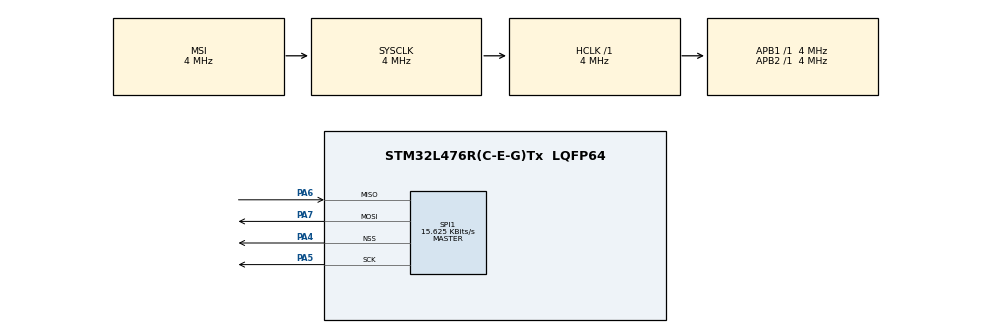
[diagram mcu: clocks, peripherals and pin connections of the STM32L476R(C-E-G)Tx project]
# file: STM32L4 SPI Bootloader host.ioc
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Mcu.Family=STM32L4
Mcu.Name=STM32L476R(C-E-G)Tx
Mcu.Package=LQFP64
NVIC.PriorityGroup=NVIC_PRIORITYGROUP_4
PA4.Mode=NSS_Signal_Hard_Output
PA4.Signal=SPI1_NSS
PA5.Mode=Full_Duplex_Master
PA5.Signal=SPI1_SCK
PA6.Mode=Full_Duplex_Master
PA6.Signal=SPI1_MISO
PA7.Mode=Full_Duplex_Master
PA7.Signal=SPI1_MOSI
ProjectManager.HeapSize=0x200
ProjectManager.StackSize=0x400
ProjectManager.TargetToolchain=EWARM
RCC.ADCFreq_Value=16000000
RCC.AHBFreq_Value=4000000
RCC.APB1Freq_Value=4000000
RCC.APB1TimFreq_Value=4000000
RCC.APB2Freq_Value=4000000
RCC.APB2TimFreq_Value=4000000
RCC.CortexFreq_Value=4000000
RCC.HCLKFreq_Value=4000000
RCC.HSE_VALUE=8000000
RCC.HSI_VALUE=16000000
RCC.LSE_VALUE=32768
RCC.MSI_VALUE=4000000
RCC.SYSCLKFreq_VALUE=4000000
RCC.USBFreq_Value=16000000
RCC.VCOOutputFreq_Value=32000000
SPI1.BaudRatePrescaler=SPI_BAUDRATEPRESCALER_256
SPI1.CalculateBaudRate=15.625 KBits/s
SPI1.DataSize=SPI_DATASIZE_8BIT
SPI1.Direction=SPI_DIRECTION_2LINES
SPI1.Mode=SPI_MODE_MASTER
SPI1.NSSPMode=SPI_NSS_PULSE_DISABLE
SPI1.VirtualNSS=VM_NSSHARD
SPI1.VirtualType=VM_MASTER
board=STM32L4 SPI Bootloader host

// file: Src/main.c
/**
  ******************************************************************************
  * File Name          : main.c
  * Description        : Main program body
  ******************************************************************************
  *
  * COPYRIGHT(c) 2017 STMicroelectronics
  *
  * Redistribution and use in source and binary forms, with or without modification,
  * are permitted provided that the following conditions are met:
  *   1. Redistributions of source code must retain the above copyright notice,
  *      this list of conditions and the following disclaimer.
  *   2. Redistributions in binary form must reproduce the above copyright notice,
  *      this list of conditions and the following disclaimer in the documentation
  *      and/or other materials provided with the distribution.
  *   3. Neither the name of STMicroelectronics nor the names of its contributors
  *      may be used to endorse or promote products derived from this software
  *      without specific prior written permission.
  *
  * THIS SOFTWARE IS PROVIDED BY THE COPYRIGHT HOLDERS AND CONTRIBUTORS "AS IS"
  * AND ANY EXPRESS OR IMPLIED WARRANTIES, INCLUDING, BUT NOT LIMITED TO, THE
  * IMPLIED WARRANTIES OF MERCHANTABILITY AND FITNESS FOR A PARTICULAR PURPOSE ARE
  * DISCLAIMED. IN NO EVENT SHALL THE COPYRIGHT HOLDER OR CONTRIBUTORS BE LIABLE
  * FOR ANY DIRECT, INDIRECT, INCIDENTAL, SPECIAL, EXEMPLARY, OR CONSEQUENTIAL
  * DAMAGES (INCLUDING, BUT NOT LIMITED TO, PROCUREMENT OF SUBSTITUTE GOODS OR
  * SERVICES; LOSS OF USE, DATA, OR PROFITS; OR BUSINESS INTERRUPTION) HOWEVER
  * CAUSED AND ON ANY THEORY OF LIABILITY, WHETHER IN CONTRACT, STRICT LIABILITY,
  * OR TORT (INCLUDING NEGLIGENCE OR OTHERWISE) ARISING IN ANY WAY OUT OF THE USE
  * OF THIS SOFTWARE, EVEN IF ADVISED OF THE POSSIBILITY OF SUCH DAMAGE.
  *
  ******************************************************************************
  */
#include "main.h"
#include "stm32l4xx_hal.h"

/* USER CODE BEGIN Includes */
#include "bootloader.h"
/* USER CODE END Includes */

SPI_HandleTypeDef hspi1;

/* USER CODE BEGIN PV */
/* Private variables ---------------------------------------------------------*/
uint8_t aRxBuffer[256] = NULL;
uint8_t aTxBuffer[256] = NULL;
/* USER CODE END PV */

void SystemClock_Config(void);
void Error_Handler(void);
static void MX_GPIO_Init(void);
static void MX_SPI1_Init(void);

/* USER CODE BEGIN PFP */
/* Private function prototypes -----------------------------------------------*/

/* USER CODE END PFP */

int main(void)
{

  /* USER CODE BEGIN 1 */
  uint8_t version;
  // uint8_t sector_codes[2] = {1, 3};
  uint16_t chipID;
  uint32_t dummy = 0xDEADBEEF;
  /* USER CODE END 1 */

  /* MCU Configuration----------------------------------------------------------*/

  /* Reset of all peripherals, Initializes the Flash interface and the Systick. */
  HAL_Init();

  /* Configure the system clock */
  SystemClock_Config();

  /* Initialize all configured peripherals */
  MX_GPIO_Init();
  MX_SPI1_Init();

  /* USER CODE BEGIN 2 */

  /* Synchronize with target bootloader ######################################*/
  BL_Init(&hspi1);

  /* Bootloader usage examples ###############################################*/
  BL_Get_Command(aRxBuffer);
  version = BL_GetVersion_Command();
  chipID = BL_GetID_Command();

  /* Check GetVersion is equal to GetCommand version */
  if (version != aRxBuffer[0])
  {
    Error_Handler();
  }

  /* Write dummy word to RAM */
  BL_WriteMemory_Command(0x20003000, 4, (uint8_t *) &dummy);

  /* Write chip ID to RAM */
  BL_WriteMemory_Command(0x20003004, 2, (uint8_t *) &chipID);

  /* Read dummy word and chip ID from RAM */
  BL_ReadMemory_Command(0x20003000, 6, aRxBuffer);

  /* Erase, write & verify test loop #########################################*/
  /* @note The Flash has to be erased before it can be written to */
  for (uint32_t i = 0; i < 5; i++)
  {

    /* Create dummy buffer using SysTick values */
    for (uint32_t j = 0; j <= 0xFF; j++)
    {
      aTxBuffer[j] = SysTick->VAL;
      /* Substitute NACK with 0xFF for easier debugging */
      if (aTxBuffer[j] == BL_NAK)
      {
        aTxBuffer[j] = 0xFF;
      }
    }

    /* (0x44) Erase Sector 0 (16 KBytes) */
    BL_EraseMemory_Command(0x0001, 0x00);

    /* (0x31) Write 255 Bytes dummy buffer */
    BL_WriteMemory_Command(0x08000000, 255, aTxBuffer);

    /* (0x11) Read memory */
    BL_ReadMemory_Command(0x08000000, 255, aRxBuffer);

    /* Verify received data */
    for (uint32_t k = 0; k < 0xFF; k++)
    {
      if (aTxBuffer[k] != aRxBuffer[k])
      {
        Error_Handler();
      }
    }
  }

  /* Jump to user application init vector ####################################*/
  BL_Go_Command(0x08000000);

  /* Security configuration examples #########################################*/
  /* @note The bootloader seems to become unresponsive after changing a option byte */
//
//  /* Write Protect Flash sectors */
//  BL_WriteProtect_Command(2, sector_codes);
//
//  /* Write Unprotect all Flash memory sectors*/
//  BL_WriteUnprotect_Command();
//
//  /* Reset Readout Protection to Level 0 (Flash mass erase) */
//  BL_ReadoutUnprotect_Command();
//
//  /* Set Readout Protection to Level 1 */
//  BL_ReadoutProtect_Command();

  /* USER CODE END 2 */

  /* Infinite loop */
  while (1)
  {

  }

}

/** System Clock Configuration
*/
void SystemClock_Config(void)
{

  RCC_OscInitTypeDef RCC_OscInitStruct;
  RCC_ClkInitTypeDef RCC_ClkInitStruct;

    /**Initializes the CPU, AHB and APB busses clocks
    */
  RCC_OscInitStruct.OscillatorType = RCC_OSCILLATORTYPE_MSI;
  RCC_OscInitStruct.MSIState = RCC_MSI_ON;
  RCC_OscInitStruct.MSICalibrationValue = 0;
  RCC_OscInitStruct.MSIClockRange = RCC_MSIRANGE_6;
  RCC_OscInitStruct.PLL.PLLState = RCC_PLL_NONE;
  if (HAL_RCC_OscConfig(&RCC_OscInitStruct) != HAL_OK)
  {
    Error_Handler();
  }

    /**Initializes the CPU, AHB and APB busses clocks
    */
  RCC_ClkInitStruct.ClockType = RCC_CLOCKTYPE_HCLK|RCC_CLOCKTYPE_SYSCLK
                              |RCC_CLOCKTYPE_PCLK1|RCC_CLOCKTYPE_PCLK2;
  RCC_ClkInitStruct.SYSCLKSource = RCC_SYSCLKSOURCE_MSI;
  RCC_ClkInitStruct.AHBCLKDivider = RCC_SYSCLK_DIV1;
  RCC_ClkInitStruct.APB1CLKDivider = RCC_HCLK_DIV1;
  RCC_ClkInitStruct.APB2CLKDivider = RCC_HCLK_DIV1;

  if (HAL_RCC_ClockConfig(&RCC_ClkInitStruct, FLASH_LATENCY_0) != HAL_OK)
  {
    Error_Handler();
  }

    /**Configure the main internal regulator output voltage
    */
  if (HAL_PWREx_ControlVoltageScaling(PWR_REGULATOR_VOLTAGE_SCALE1) != HAL_OK)
  {
    Error_Handler();
  }

    /**Configure the Systick interrupt time
    */
  HAL_SYSTICK_Config(HAL_RCC_GetHCLKFreq()/1000);

    /**Configure the Systick
    */
  HAL_SYSTICK_CLKSourceConfig(SYSTICK_CLKSOURCE_HCLK);

  /* SysTick_IRQn interrupt configuration */
  HAL_NVIC_SetPriority(SysTick_IRQn, 0, 0);
}

/* SPI1 init function */
static void MX_SPI1_Init(void)
{

  hspi1.Instance = SPI1;
  hspi1.Init.Mode = SPI_MODE_MASTER;
  hspi1.Init.Direction = SPI_DIRECTION_2LINES;
  hspi1.Init.DataSize = SPI_DATASIZE_8BIT;
  hspi1.Init.CLKPolarity = SPI_POLARITY_LOW;
  hspi1.Init.CLKPhase = SPI_PHASE_1EDGE;
  hspi1.Init.NSS = SPI_NSS_HARD_OUTPUT;
  hspi1.Init.BaudRatePrescaler = SPI_BAUDRATEPRESCALER_256;
  hspi1.Init.FirstBit = SPI_FIRSTBIT_MSB;
  hspi1.Init.TIMode = SPI_TIMODE_DISABLE;
  hspi1.Init.CRCCalculation = SPI_CRCCALCULATION_DISABLE;
  hspi1.Init.CRCPolynomial = 7;
  hspi1.Init.CRCLength = SPI_CRC_LENGTH_DATASIZE;
  hspi1.Init.NSSPMode = SPI_NSS_PULSE_DISABLE;
  if (HAL_SPI_Init(&hspi1) != HAL_OK)
  {
    Error_Handler();
  }

}

/** Pinout Configuration
*/
static void MX_GPIO_Init(void)
{

  /* GPIO Ports Clock Enable */
  __HAL_RCC_GPIOA_CLK_ENABLE();

}

void Error_Handler(void)
{
  while(1)
  {
  }
}

/************************ (C) COPYRIGHT STMicroelectronics *****END OF FILE****/
